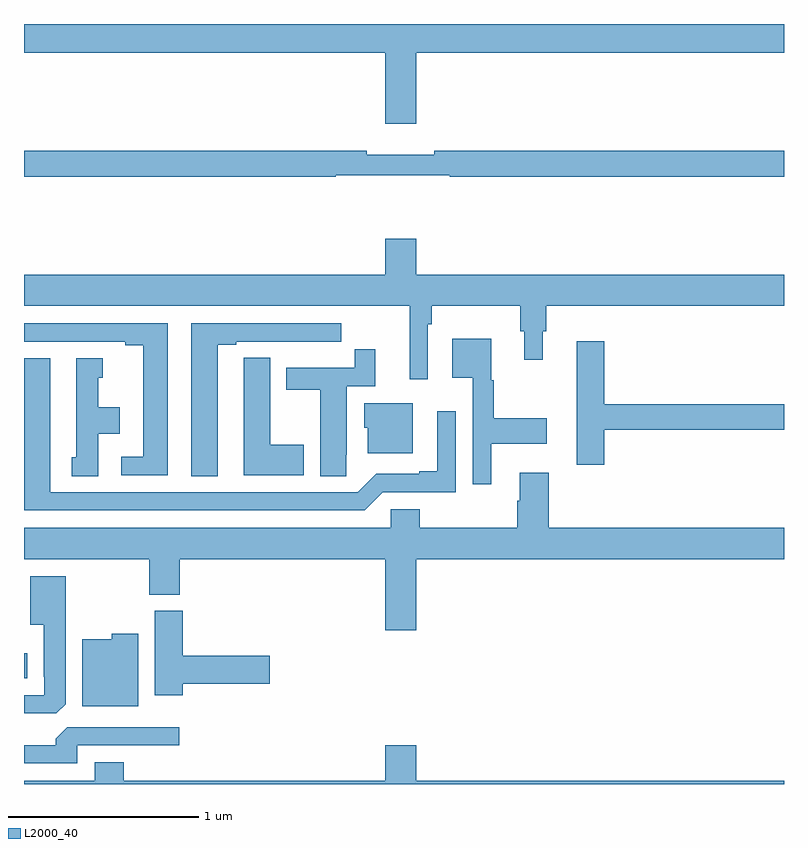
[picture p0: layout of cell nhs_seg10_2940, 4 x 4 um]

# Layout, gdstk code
import gdstk
lib = gdstk.Library(unit=1e-6, precision=1e-09)
def R(c, l, rs):  # rectangles x0, y0, x1, y1
    for r in rs: c.add(gdstk.rectangle(r[:2], r[2:], *l))
def P(c, l, *ps):  # polygons
    for p in ps: c.add(gdstk.Polygon(p, *l))
L2000_40 = (2000, 40)

nhs_seg10_2940 = lib.new_cell('nhs_seg10_2940')
R(nhs_seg10_2940, L2000_40, [(271,1265.057,271.018,1265.188)])
P(nhs_seg10_2940, L2000_40, [(273.064,1268.348),(275,1268.348),(275,1268.5),(271,1268.5),(271,1268.348),(272.9,1268.348),(272.9,1267.974),(273.064,1267.974)],
  [(272.642,1267.704),(273.242,1267.704),(273.242,1267.696),(275,1267.696),(275,1267.832),(273.16,1267.832),(273.16,1267.813),(272.804,1267.813),(272.804,1267.832),(271,1267.832),(271,1267.696),(272.642,1267.696)],
  [(273.126,1266.92),(273.146,1266.92),(273.146,1267.016),(273.613,1267.016),(273.613,1266.882),(273.632,1266.882),(273.632,1266.732),(273.73,1266.732),(273.73,1266.882),(273.749,1266.882),(273.749,1267.016),(275,1267.016),(275,1267.18),(273.064,1267.18),(273.064,1267.369),(272.9,1267.369),(272.9,1267.18),(271,1267.18),(271,1267.016),(273.029,1267.016),(273.029,1266.63),(273.126,1266.63)],
  [(272.02,1266.813),(272.116,1266.813),(272.116,1266.828),(272.392,1266.828),(272.392,1266.827),(272.558,1266.827),(272.558,1266.828),(272.671,1266.828),(272.671,1266.924),(271.88,1266.924),(271.88,1266.121),(272.02,1266.121)],
  [(271.756,1266.924),(271,1266.924),(271,1266.828),(271.532,1266.828),(271.532,1266.808),(271.628,1266.808),(271.628,1266.222),(271.512,1266.222),(271.512,1266.126),(271.756,1266.126)],
  [(273.46,1266.29),(273.751,1266.29),(273.751,1266.425),(273.472,1266.425),(273.472,1266.624),(273.46,1266.624),(273.46,1266.844),(273.254,1266.844),(273.254,1266.638),(273.363,1266.638),(273.363,1266.078),(273.46,1266.078)],
  [(274.055,1266.364),(275,1266.364),(275,1266.5),(274.055,1266.5),(274.055,1266.829),(273.908,1266.829),(273.908,1266.18),(274.055,1266.18)],
  [(272.697,1266.232),(272.698,1266.232),(272.698,1266.594),(272.849,1266.594),(272.849,1266.787),(272.74,1266.787),(272.74,1266.69),(272.381,1266.69),(272.381,1266.574),(272.558,1266.574),(272.558,1266.121),(272.697,1266.121)],
  [(272.473,1266.285),(272.296,1266.285),(272.296,1266.743),(272.157,1266.743),(272.157,1266.635),(272.156,1266.635),(272.156,1266.125),(272.473,1266.125)],
  [(272.889,1266.036),(273.273,1266.036),(273.273,1266.463),(273.176,1266.463),(273.176,1266.145),(273.08,1266.145),(273.08,1266.132),(272.853,1266.132),(272.757,1266.036),(271.138,1266.036),(271.138,1266.742),(271,1266.742),(271,1265.94),(272.793,1265.94)],
  [(271.39,1266.344),(271.504,1266.344),(271.504,1266.484),(271.39,1266.484),(271.39,1266.639),(271.414,1266.639),(271.414,1266.742),(271.274,1266.742),(271.274,1266.219),(271.25,1266.219),(271.25,1266.121),(271.39,1266.121)],
  [(273.046,1266.505),(272.792,1266.505),(272.792,1266.375),(272.81,1266.375),(272.81,1266.242),(273.046,1266.242)],
  [(273.064,1265.684),(275,1265.684),(275,1265.848),(273.761,1265.848),(273.761,1266.139),(273.608,1266.139),(273.608,1265.99),(273.596,1265.99),(273.596,1265.848),(273.083,1265.848),(273.083,1265.946),(272.931,1265.946),(272.931,1265.848),(271,1265.848),(271,1265.684),(271.66,1265.684),(271.66,1265.497),(271.82,1265.497),(271.82,1265.684),(272.9,1265.684),(272.9,1265.31),(273.064,1265.31)],
  [(271.219,1264.921),(271.219,1265.593),(271.034,1265.593),(271.034,1265.339),(271.103,1265.339),(271.103,1265.065),(271.107,1265.065),(271.107,1264.968),(271,1264.968),(271,1264.872),(271.17,1264.872)],
  [(271.835,1265.027),(272.293,1265.027),(272.293,1265.174),(271.835,1265.174),(271.835,1265.412),(271.688,1265.412),(271.688,1264.968),(271.835,1264.968)],
  [(271.6,1265.29),(271.461,1265.29),(271.461,1265.263),(271.307,1265.263),(271.307,1264.91),(271.6,1264.91)],
  [(271.281,1264.704),(271.816,1264.704),(271.816,1264.8),(271.227,1264.8),(271.166,1264.738),(271.166,1264.704),(271,1264.704),(271,1264.608),(271.281,1264.608)],
  [(275,1264.516),(273.064,1264.516),(273.064,1264.705),(272.9,1264.705),(272.9,1264.516),(271.526,1264.516),(271.526,1264.615),(271.373,1264.615),(271.373,1264.516),(271,1264.516),(271,1264.5),(275,1264.5)])

lib.write_gds('nhs_seg10_2940.gds')
